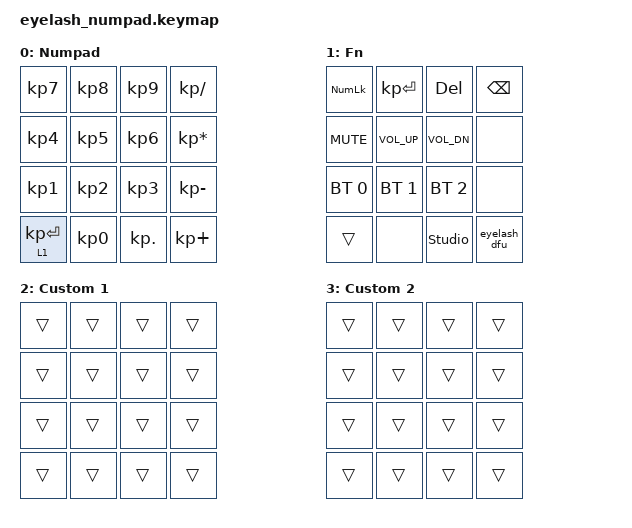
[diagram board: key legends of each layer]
#include <behaviors.dtsi>
#include <dt-bindings/zmk/keys.h>
#include <dt-bindings/zmk/bt.h>
#include <behaviors/eyelash_dfu.dtsi>
#include <behaviors/runtime_macro.dtsi>
#include <behaviors/runtime_tapdance.dtsi>

/ {
    keymap {
        compatible = "zmk,keymap";
        default_layer {
            display-name = "Numpad";
            bindings = <
                &kp KP_N7      &kp KP_N8 &kp KP_N9  &kp KP_DIVIDE
                &kp KP_N4      &kp KP_N5 &kp KP_N6  &kp KP_MULTIPLY
                &kp KP_N1      &kp KP_N2 &kp KP_N3  &kp KP_MINUS
                &lt 1 KP_ENTER &kp KP_N0 &kp KP_DOT &kp KP_PLUS
            >;
        };
        function_layer {
            display-name = "Fn";
            bindings = <
                &kp KP_NUMLOCK &kp KP_ENTER &kp DELETE     &kp BACKSPACE
                &kp C_MUTE     &kp C_VOL_UP &kp C_VOL_DN   &none
                &bt BT_SEL 0   &bt BT_SEL 1 &bt BT_SEL 2   &none
                &trans         &none       &studio_unlock &eyelash_dfu
            >;
        };
        user_layer_1 {
            display-name = "Custom 1";
            bindings = <
                &trans &trans &trans &trans
                &trans &trans &trans &trans
                &trans &trans &trans &trans
                &trans &trans &trans &trans
            >;
        };
        user_layer_2 {
            display-name = "Custom 2";
            bindings = <
                &trans &trans &trans &trans
                &trans &trans &trans &trans
                &trans &trans &trans &trans
                &trans &trans &trans &trans
            >;
        };
    };
};
